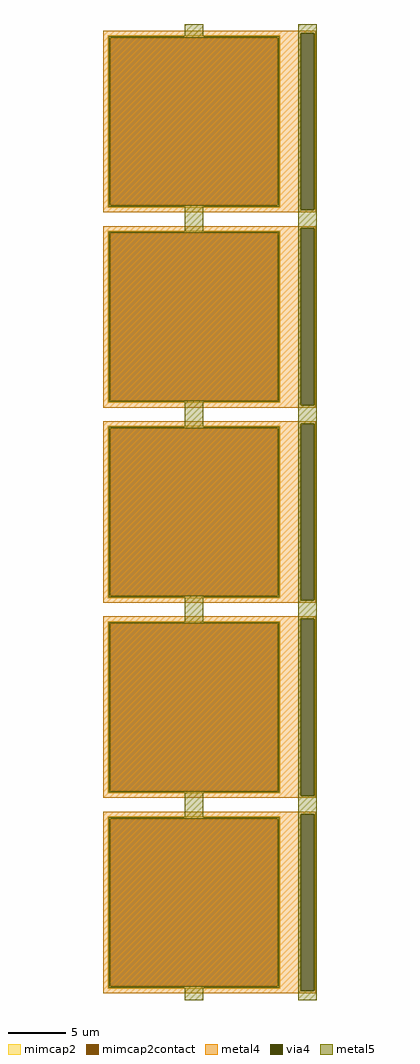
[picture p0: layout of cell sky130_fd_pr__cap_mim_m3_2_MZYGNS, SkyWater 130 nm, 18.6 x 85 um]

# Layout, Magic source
magic
tech sky130A
magscale 1 2
<< metal4 >>
rect -1849 8339 1849 8380
rect -1849 5261 1593 8339
rect 1829 5261 1849 8339
rect -1849 5220 1849 5261
rect -1849 4939 1849 4980
rect -1849 1861 1593 4939
rect 1829 1861 1849 4939
rect -1849 1820 1849 1861
rect -1849 1539 1849 1580
rect -1849 -1539 1593 1539
rect 1829 -1539 1849 1539
rect -1849 -1580 1849 -1539
rect -1849 -1861 1849 -1820
rect -1849 -4939 1593 -1861
rect 1829 -4939 1849 -1861
rect -1849 -4980 1849 -4939
rect -1849 -5261 1849 -5220
rect -1849 -8339 1593 -5261
rect 1829 -8339 1849 -5261
rect -1849 -8380 1849 -8339
<< via4 >>
rect 1593 5261 1829 8339
rect 1593 1861 1829 4939
rect 1593 -1539 1829 1539
rect 1593 -4939 1829 -1861
rect 1593 -8339 1829 -5261
<< mimcap2 >>
rect -1769 8260 1231 8300
rect -1769 5340 -1729 8260
rect 1191 5340 1231 8260
rect -1769 5300 1231 5340
rect -1769 4860 1231 4900
rect -1769 1940 -1729 4860
rect 1191 1940 1231 4860
rect -1769 1900 1231 1940
rect -1769 1460 1231 1500
rect -1769 -1460 -1729 1460
rect 1191 -1460 1231 1460
rect -1769 -1500 1231 -1460
rect -1769 -1940 1231 -1900
rect -1769 -4860 -1729 -1940
rect 1191 -4860 1231 -1940
rect -1769 -4900 1231 -4860
rect -1769 -5340 1231 -5300
rect -1769 -8260 -1729 -5340
rect 1191 -8260 1231 -5340
rect -1769 -8300 1231 -8260
<< mimcap2contact >>
rect -1729 5340 1191 8260
rect -1729 1940 1191 4860
rect -1729 -1460 1191 1460
rect -1729 -4860 1191 -1940
rect -1729 -8260 1191 -5340
<< metal5 >>
rect -429 8284 -109 8500
rect 1551 8339 1871 8500
rect -1753 8260 1215 8284
rect -1753 5340 -1729 8260
rect 1191 5340 1215 8260
rect -1753 5316 1215 5340
rect -429 4884 -109 5316
rect 1551 5261 1593 8339
rect 1829 5261 1871 8339
rect 1551 4939 1871 5261
rect -1753 4860 1215 4884
rect -1753 1940 -1729 4860
rect 1191 1940 1215 4860
rect -1753 1916 1215 1940
rect -429 1484 -109 1916
rect 1551 1861 1593 4939
rect 1829 1861 1871 4939
rect 1551 1539 1871 1861
rect -1753 1460 1215 1484
rect -1753 -1460 -1729 1460
rect 1191 -1460 1215 1460
rect -1753 -1484 1215 -1460
rect -429 -1916 -109 -1484
rect 1551 -1539 1593 1539
rect 1829 -1539 1871 1539
rect 1551 -1861 1871 -1539
rect -1753 -1940 1215 -1916
rect -1753 -4860 -1729 -1940
rect 1191 -4860 1215 -1940
rect -1753 -4884 1215 -4860
rect -429 -5316 -109 -4884
rect 1551 -4939 1593 -1861
rect 1829 -4939 1871 -1861
rect 1551 -5261 1871 -4939
rect -1753 -5340 1215 -5316
rect -1753 -8260 -1729 -5340
rect 1191 -8260 1215 -5340
rect -1753 -8284 1215 -8260
rect -429 -8500 -109 -8284
rect 1551 -8339 1593 -5261
rect 1829 -8339 1871 -5261
rect 1551 -8500 1871 -8339
<< properties >>
string FIXED_BBOX -1849 5220 1311 8380
string gencell sky130_fd_pr__cap_mim_m3_2
string library sky130
string parameters w 15.0 l 15.0 val 461.4 carea 2.00 cperi 0.19 nx 1 ny 5 dummy 0 square 0 lmin 2.00 wmin 2.00 lmax 30.0 wmax 30.0 dc 0 bconnect 1 tconnect 1 ccov 100
<< end >>
